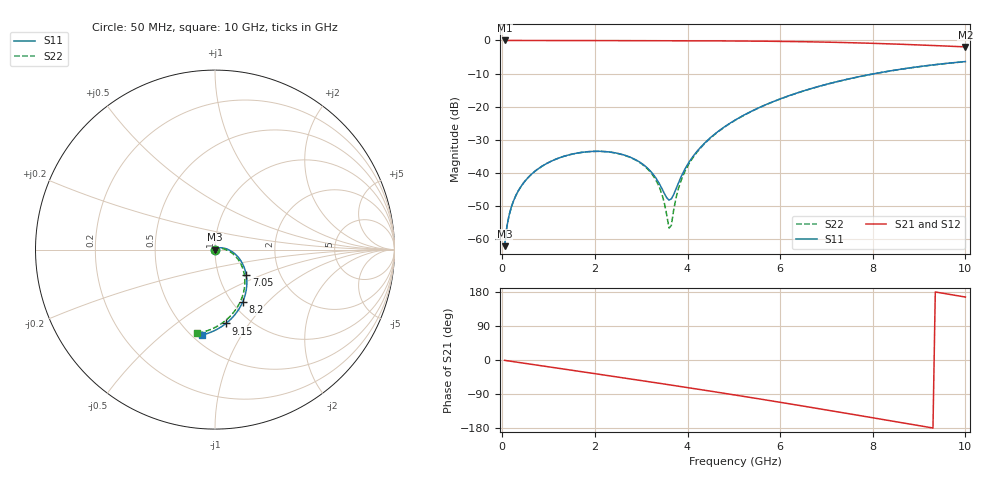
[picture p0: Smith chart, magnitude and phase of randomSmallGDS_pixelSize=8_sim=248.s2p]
! freq	dB(S11)	phase(S11)	dB(S12)	phase(S12)
!  dB(S21)	phase(S21)	dB(S22)	phase(S22)
!S-par simulation data
#  GHz  S  DB  R 50
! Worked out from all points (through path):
!   200 points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, 50 MHz to 10 GHz, reference 50 ohm
!   highest |S21| = 0.00 dB at 50 MHz (marker M1); lowest = -1.9 dB at 10 GHz (marker M2)
!   group delay of S21, straight-line fit = 53.9 ps
!   lowest |S11| = -62.1 dB at 50 MHz (marker M3), VSWR 1.00, Z = 50 - j0.0785 ohm
!   |S11| at or under -10 dB: start of sweep to 8.043 GHz
!   |S22| runs from -62.1 to -6.4 dB; largest |S21 - S12| = 0
!   S11 on the Smith chart (normalised r, x): 50 MHz: 1.00, -0.00; 7.05 GHz: 1.35, -0.40; 8.2 GHz: 1.11, -0.73; 9.15 GHz: 0.79, -0.78; 10 GHz: 0.56, -0.69
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0.05  -62.10 -88.6  -0.00 -0.9  -0.00 -0.9  -62.10 -88.6
0.1  -56.09 -90.8  -0.00 -1.8  -0.00 -1.8  -56.10 -90.7
0.2  -50.10 -93.4  -0.00 -3.6  -0.00 -3.6  -50.10 -93.2
0.5  -42.29 -99.6  -0.01 -9.1  -0.01 -9.1  -42.29 -99.3
1.05  -36.49 -110.6  -0.02 -18.9  -0.02 -18.9  -36.50 -109.9
1.75  -33.72 -124.8  -0.04 -31.5  -0.04 -31.5  -33.73 -123.2
2.8  -35.47 -149.2  -0.06 -50.6  -0.06 -50.6  -35.54 -144.2
3.15  -38.74 -162.4  -0.07 -57.0  -0.07 -57.0  -38.99 -153.0
3.4  -43.44 177.0  -0.07 -61.6  -0.07 -61.6  -44.58 -163.8
3.5  -46.20 157.7  -0.08 -63.5  -0.08 -63.5  -49.12 -175.3
3.6  -48.19 122.2  -0.08 -65.3  -0.08 -65.3  -56.64 136.5
3.65  -47.85 100.5  -0.08 -66.2  -0.08 -66.2  -55.87 80.2
3.8  -43.10 58.0  -0.09 -69.0  -0.09 -69.0  -44.86 34.5
4.05  -36.37 34.4  -0.10 -73.7  -0.10 -73.7  -36.80 21.8
4.45  -29.90 18.9  -0.12 -81.3  -0.12 -81.3  -30.05 11.5
5.05  -23.85 3.7  -0.16 -92.8  -0.16 -92.8  -23.91 -1.3
6.7  -14.40 -31.4  -0.42 -125.7  -0.42 -125.7  -14.43 -34.9
7.05  -13.05 -38.7  -0.52 -132.9  -0.52 -132.9  -13.08 -42.0
8.2  -9.60 -62.3  -0.95 -156.6  -0.95 -156.6  -9.63 -65.7
8.35  -9.25 -65.4  -1.02 -159.7  -1.02 -159.7  -9.28 -68.8
9.15  -7.62 -81.5  -1.44 -176.3  -1.44 -176.3  -7.66 -85.1
10  -6.37 -98.3  -1.94 166.1  -1.94 166.1  -6.41 -102.4
